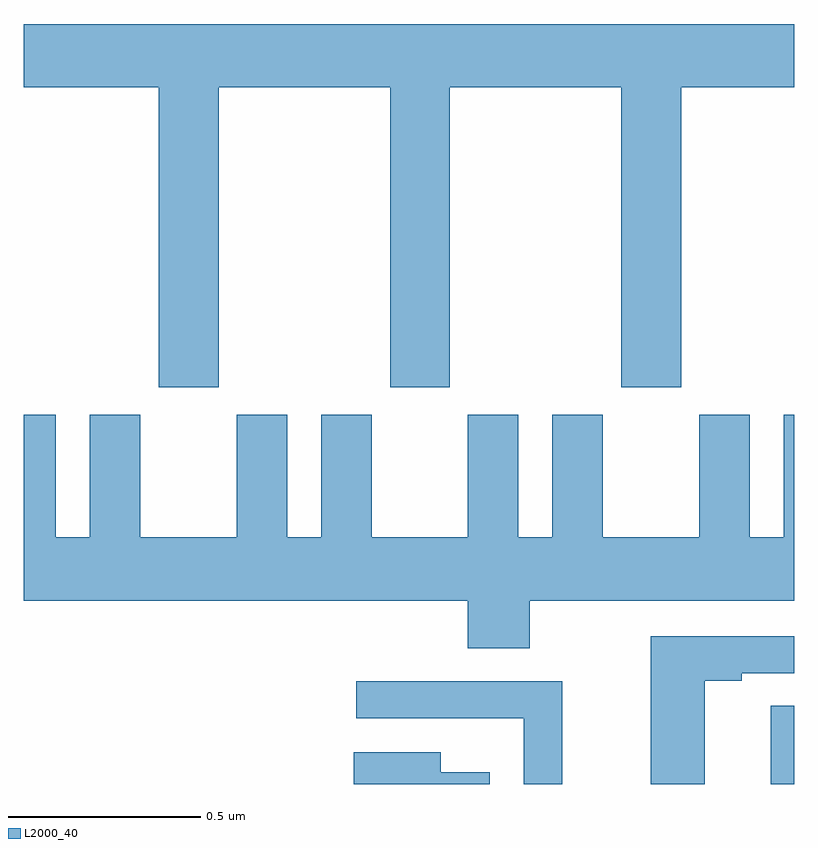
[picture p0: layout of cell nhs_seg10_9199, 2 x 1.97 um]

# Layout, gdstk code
import gdstk
lib = gdstk.Library(unit=1e-6, precision=1e-09)
def R(c, l, rs):  # rectangles x0, y0, x1, y1
    for r in rs: c.add(gdstk.rectangle(r[:2], r[2:], *l))
def P(c, l, *ps):  # polygons
    for p in ps: c.add(gdstk.Polygon(p, *l))
L2000_40 = (2000, 40)

nhs_seg10_9199 = lib.new_cell('nhs_seg10_9199')
R(nhs_seg10_9199, L2000_40, [(227.939,1306.5,228,1306.703)])
P(nhs_seg10_9199, L2000_40, [(226.506,1308.308),(226.951,1308.308),(226.951,1307.529),(227.106,1307.529),(227.106,1308.308),(227.551,1308.308),(227.551,1307.529),(227.706,1307.529),(227.706,1308.308),(228,1308.308),(228,1308.472),(226,1308.472),(226,1308.308),(226.351,1308.308),(226.351,1307.529),(226.506,1307.529)],
  [(227.313,1306.976),(228,1306.976),(228,1307.458),(227.972,1307.458),(227.972,1307.14),(227.884,1307.14),(227.884,1307.458),(227.753,1307.458),(227.753,1307.14),(227.503,1307.14),(227.503,1307.458),(227.372,1307.458),(227.372,1307.14),(227.284,1307.14),(227.284,1307.458),(227.153,1307.458),(227.153,1307.14),(226.903,1307.14),(226.903,1307.458),(226.772,1307.458),(226.772,1307.14),(226.684,1307.14),(226.684,1307.458),(226.553,1307.458),(226.553,1307.14),(226.303,1307.14),(226.303,1307.458),(226.172,1307.458),(226.172,1307.14),(226.084,1307.14),(226.084,1307.458),(226,1307.458),(226,1306.976),(227.153,1306.976),(227.153,1306.852),(227.313,1306.852)],
  [(227.767,1306.768),(227.863,1306.768),(227.863,1306.788),(228,1306.788),(228,1306.884),(227.627,1306.884),(227.627,1306.5),(227.767,1306.5)],
  [(227.397,1306.767),(226.863,1306.767),(226.863,1306.671),(227.297,1306.671),(227.297,1306.67),(227.298,1306.67),(227.298,1306.5),(227.397,1306.5)],
  [(227.209,1306.531),(227.083,1306.531),(227.083,1306.582),(226.856,1306.582),(226.856,1306.5),(227.209,1306.5)])

lib.write_gds('nhs_seg10_9199.gds')
